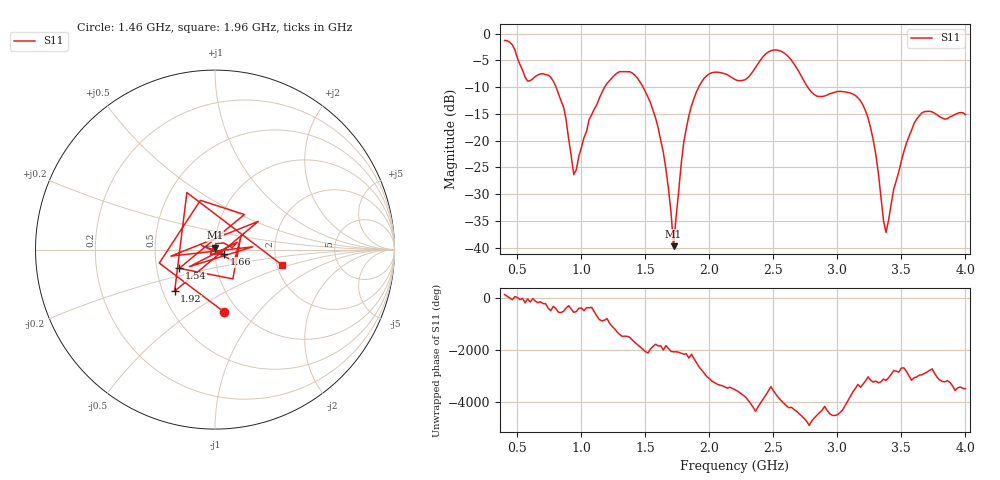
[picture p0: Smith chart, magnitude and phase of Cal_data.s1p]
! Created with skrf (http://scikit-rf.org).
# Hz S RI R 50.0
!freq ReS11 ImS11
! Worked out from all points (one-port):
!   181 points, 400 MHz to 4 GHz, reference 50 ohm
!   lowest |S11| = -39.7 dB at 1.72 GHz (marker M1), VSWR 1.02, Z = 49.9 + j1.03 ohm
!   |S11| at or under -10 dB: 802.1 MHz to 1.181 GHz (379.1 MHz wide, 38.2 % of centre); 1.482 GHz to 1.917 GHz (434.7 MHz wide, 25.6 % of centre); 2.768 GHz to end of sweep
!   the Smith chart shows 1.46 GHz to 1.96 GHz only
!   S11 on the Smith chart (normalised r, x): 1.46 GHz: 0.86, -0.68; 1.54 GHz: 0.66, -0.14; 1.66 GHz: 1.10, -0.05; 1.92 GHz: 0.58, -0.30; 1.96 GHz: 2.14, -0.43
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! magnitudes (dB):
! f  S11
! 400 MHz  -1.3
! 460 MHz  -2.1
! 580 MHz  -8.9
! 760 MHz  -8.1
! 860 MHz  -13.7
! 940 MHz  -26.3
! 1.06 GHz  -16.1
! 1.3 GHz  -7.1
! 1.46 GHz  -9.1
! 1.54 GHz  -13.0
! 1.66 GHz  -25.3
! 1.72 GHz  -39.7
! 1.76 GHz  -29.5
! 1.82 GHz  -17.7
! 1.92 GHz  -9.8
! 1.96 GHz  -8.3
! 2.2 GHz  -8.6
! 2.48 GHz  -3.2
! 2.66 GHz  -5.6
! 2.84 GHz  -11.7
! 3.1 GHz  -11.1
! 3.2 GHz  -13.4
! 3.26 GHz  -17.7
! 3.38 GHz  -37.2
! 3.44 GHz  -29.1
! 3.56 GHz  -19.1
! 3.68 GHz  -14.6
! 4 GHz  -15.1
